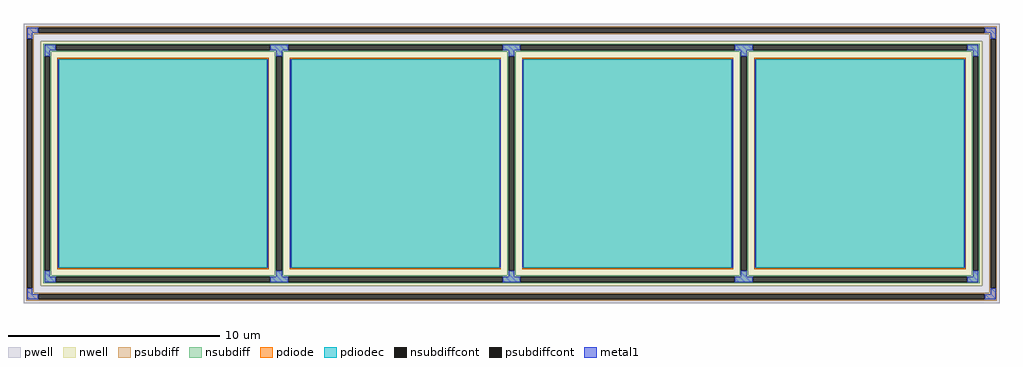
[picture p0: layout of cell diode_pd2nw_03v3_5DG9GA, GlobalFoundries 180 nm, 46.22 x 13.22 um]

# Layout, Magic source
magic
tech gf180mcuD
magscale 1 10
<< nwell >>
rect -4460 -1160 4460 1160
<< pwell >>
rect -4622 1160 4622 1322
rect -4622 -1160 -4460 1160
rect 4460 -1160 4622 1160
rect -4622 -1322 4622 -1160
<< psubdiff >>
rect -4598 1285 4598 1298
rect -4598 1239 -4482 1285
rect 4482 1239 4598 1285
rect -4598 1226 4598 1239
rect -4598 1182 -4526 1226
rect -4598 -1182 -4585 1182
rect -4539 -1182 -4526 1182
rect 4526 1182 4598 1226
rect -4598 -1226 -4526 -1182
rect 4526 -1182 4539 1182
rect 4585 -1182 4598 1182
rect 4526 -1226 4598 -1182
rect -4598 -1239 4598 -1226
rect -4598 -1285 -4482 -1239
rect 4482 -1285 4598 -1239
rect -4598 -1298 4598 -1285
<< nsubdiff >>
rect -4436 1123 4436 1136
rect -4436 1073 -4316 1123
rect -2284 1073 -2116 1123
rect -84 1073 84 1123
rect 2116 1073 2284 1123
rect 4316 1073 4436 1123
rect -4436 1060 4436 1073
rect -4436 1016 -4360 1060
rect -4436 -1016 -4423 1016
rect -4373 -1016 -4360 1016
rect -2240 1016 -2160 1060
rect -4436 -1060 -4360 -1016
rect -2240 -1016 -2227 1016
rect -2173 -1016 -2160 1016
rect -40 1016 40 1060
rect -2240 -1060 -2160 -1016
rect -40 -1016 -27 1016
rect 27 -1016 40 1016
rect 2160 1016 2240 1060
rect -40 -1060 40 -1016
rect 2160 -1016 2173 1016
rect 2227 -1016 2240 1016
rect 4360 1016 4436 1060
rect 2160 -1060 2240 -1016
rect 4360 -1016 4373 1016
rect 4423 -1016 4436 1016
rect 4360 -1060 4436 -1016
rect -4436 -1073 4436 -1060
rect -4436 -1123 -4316 -1073
rect -2284 -1123 -2116 -1073
rect -84 -1123 84 -1073
rect 2116 -1123 2284 -1073
rect 4316 -1123 4436 -1073
rect -4436 -1136 4436 -1123
<< psubdiffcont >>
rect -4482 1239 4482 1285
rect -4585 -1182 -4539 1182
rect 4539 -1182 4585 1182
rect -4482 -1285 4482 -1239
<< nsubdiffcont >>
rect -4316 1073 -2284 1123
rect -2116 1073 -84 1123
rect 84 1073 2116 1123
rect 2284 1073 4316 1123
rect -4423 -1016 -4373 1016
rect -2227 -1016 -2173 1016
rect -27 -1016 27 1016
rect 2173 -1016 2227 1016
rect 4373 -1016 4423 1016
rect -4316 -1123 -2284 -1073
rect -2116 -1123 -84 -1073
rect 84 -1123 2116 -1073
rect 2284 -1123 4316 -1073
<< pdiode >>
rect -4300 987 -2300 1000
rect -4300 -987 -4287 987
rect -2313 -987 -2300 987
rect -4300 -1000 -2300 -987
rect -2100 987 -100 1000
rect -2100 -987 -2087 987
rect -113 -987 -100 987
rect -2100 -1000 -100 -987
rect 100 987 2100 1000
rect 100 -987 113 987
rect 2087 -987 2100 987
rect 100 -1000 2100 -987
rect 2300 987 4300 1000
rect 2300 -987 2313 987
rect 4287 -987 4300 987
rect 2300 -1000 4300 -987
<< pdiodec >>
rect -4287 -987 -2313 987
rect -2087 -987 -113 987
rect 113 -987 2087 987
rect 2313 -987 4287 987
<< metal1 >>
rect -4585 1239 -4482 1285
rect 4482 1239 4585 1285
rect -4585 1182 -4539 1239
rect 4539 1182 4585 1239
rect -4423 1073 -4316 1123
rect -2284 1073 -2116 1123
rect -84 1073 84 1123
rect 2116 1073 2284 1123
rect 4316 1073 4423 1123
rect -4423 1016 -4373 1073
rect -2227 1016 -2173 1073
rect -4298 -987 -4287 987
rect -2313 -987 -2302 987
rect -4423 -1073 -4373 -1016
rect -27 1016 27 1073
rect -2098 -987 -2087 987
rect -113 -987 -102 987
rect -2227 -1073 -2173 -1016
rect 2173 1016 2227 1073
rect 102 -987 113 987
rect 2087 -987 2098 987
rect -27 -1073 27 -1016
rect 4373 1016 4423 1073
rect 2302 -987 2313 987
rect 4287 -987 4298 987
rect 2173 -1073 2227 -1016
rect 4373 -1073 4423 -1016
rect -4423 -1123 -4316 -1073
rect -2284 -1123 -2116 -1073
rect -84 -1123 84 -1073
rect 2116 -1123 2284 -1073
rect 4316 -1123 4423 -1073
rect -4585 -1239 -4539 -1182
rect 4539 -1239 4585 -1182
rect -4585 -1285 -4482 -1239
rect 4482 -1285 4585 -1239
<< properties >>
string diode_pd2nw_03v3_5DG9GA parameters
string FIXED_BBOX 2202 -1098 4398 1098
string gencell diode_pd2nw_03v3
string library gf180mcu
string parameters w 10 l 10 area 100.0 peri 40.0 nx 4 ny 1 dummy 0 lmin 0.45 wmin 0.45 class diode elc 1 erc 1 etc 1 ebc 1 glc 1 grc 1 gtc 1 gbc 1 doverlap 1 full_metal 1 compatible {diode_pd2nw_03v3 diode_pd2nw_06v0}
<< end >>
